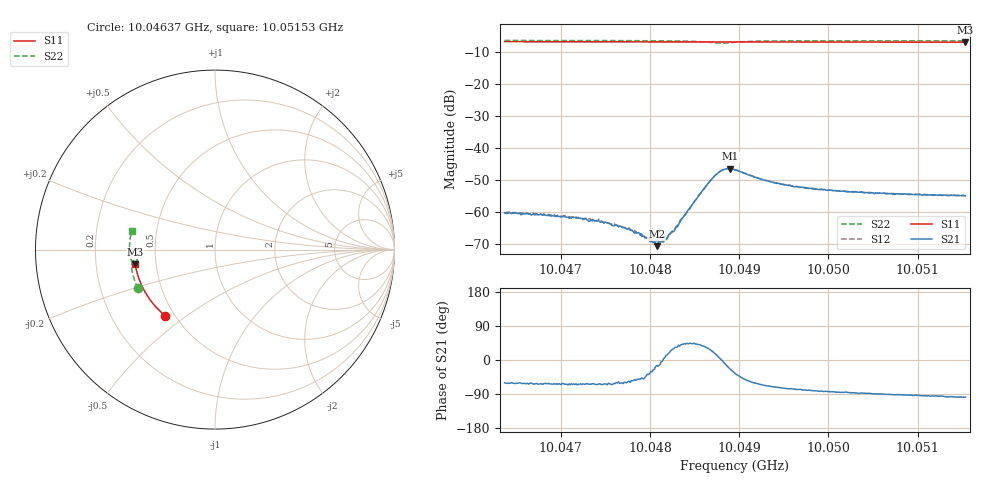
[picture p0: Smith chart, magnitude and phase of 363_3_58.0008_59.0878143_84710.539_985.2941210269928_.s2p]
#  HZ  S  RI  R  50.00
! Rohde & Schwarz Vector Network Analyzer
! Rohde-Schwarz,ZNB20-2Port,1311601062101988,3.16
! Created: UTC 3/21/2024, 1:06:36 AM
! freq[Hz]  re:S11  im:S11  re:S21  im:S21  re:S12  im:S12  re:S22  im:S22
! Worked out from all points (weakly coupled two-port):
!   401 points, 10.04637 GHz to 10.05153 GHz, reference 50 ohm
!   highest |S21| = -46.53 dB at 10.0489 GHz (marker M1); lowest = -70.8 dB at 10.04808 GHz (marker M2)
!   lowest |S11| = -6.9 dB at 10.05153 GHz (marker M3), VSWR 2.65, Z = 19 - j3.89 ohm
!   |S11| at or under -10 dB: nowhere
!   |S22| runs from -7.2 to -6.4 dB; largest |S21 - S12| = 0.00032
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1.0046373e10  -0.2774 -0.3683  0.000482 -0.000831  0.00054 -0.000817  -0.4295 -0.2164
1.0046799e10  -0.2989 -0.3498  0.000388 -0.000793  0.000456 -0.000774  -0.4412 -0.1903
1.0047057e10  -0.3112 -0.338  0.000358 -0.00075  0.000444 -0.000737  -0.4472 -0.1739
1.0047237e10  -0.3196 -0.3296  0.000332 -0.000712  0.000396 -0.00067  -0.451 -0.1622
1.0047431e10  -0.3285 -0.3202  0.000323 -0.000639  0.000403 -0.000662  -0.455 -0.1493
1.004774e10  -0.3419 -0.3048  0.000266 -0.000463  0.000289 -0.000441  -0.4604 -0.1281
1.0047882e10  -0.3479 -0.2975  0.000295 -0.000353  0.000305 -0.000316  -0.4624 -0.1178
1.0048024e10  -0.3535 -0.2902  0.000306 -0.000184  0.000295 -0.000168  -0.4641 -0.1071
1.0048076e10  -0.3558 -0.2874  0.00028 -7.28e-05  0.000333 -0.000107  -0.4644 -0.1031
1.0048102e10  -0.3567 -0.2862  0.000332 -8.32e-05  0.000345 -4.63e-05  -0.4646 -0.1011
1.0048166e10  -0.3593 -0.2829  0.000364 3.83e-05  0.000363 8e-05  -0.465 -0.0962
1.0048244e10  -0.3623 -0.2789  0.00044 0.000216  0.000411 0.000228  -0.4649 -0.0897
1.0048295e10  -0.3642 -0.276  0.000487 0.000327  0.000454 0.000368  -0.4647 -0.0853
1.0048528e10  -0.3729 -0.2632  0.00121 0.00108  0.00118 0.00117  -0.4589 -0.0637
1.0048708e10  -0.3792 -0.2533  0.00319 0.00124  0.00314 0.00143  -0.4411 -0.0537
1.0048811e10  -0.3825 -0.2475  0.00449 -0.000193  0.0045 7.65e-05  -0.4315 -0.0626
1.0048902e10  -0.3854 -0.2427  0.00428 -0.00198  0.00442 -0.00173  -0.4363 -0.0734
1.0048953e10  -0.3873 -0.2399  0.00369 -0.00259  0.0039 -0.00238  -0.443 -0.0754
1.0049379e10  -0.401 -0.2152  0.000962 -0.00272  0.0011 -0.00267  -0.4714 -0.0449
1.0049818e10  -0.413 -0.1892  0.000381 -0.00225  0.000517 -0.00227  -0.4762 -0.0111
1.0050683e10  -0.4323 -0.1359  -2.84e-05 -0.00193  7.78e-05 -0.00191  -0.4742 0.0491
1.0051534e10  -0.4445 -0.0815  -0.000243 -0.00176  -0.000148 -0.00178  -0.4645 0.1052
